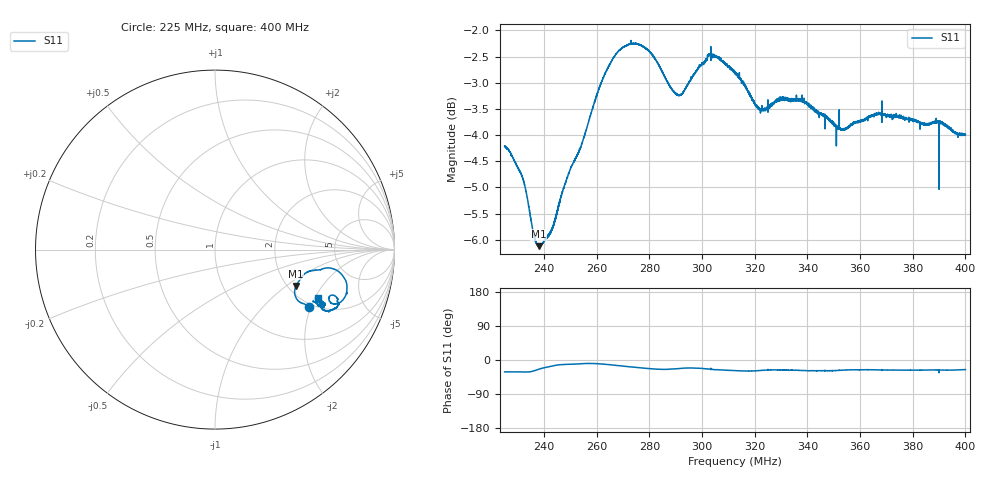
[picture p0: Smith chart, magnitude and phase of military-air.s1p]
! Calibrated averaged scanner-service zoom
# Hz S RI R 50
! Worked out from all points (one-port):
!   10001 points, 225 MHz to 400 MHz, reference 50 ohm
!   lowest |S11| = -6.1 dB at 238 MHz (marker M1), VSWR 2.95, Z = 110 - j59.2 ohm
!   |S11| at or under -10 dB: nowhere
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2.25e8  0.526 -0.3205
2.33155e8  0.4737 -0.2938
2.357625e8  0.445 -0.2511
2.380375e8  0.4506 -0.2031
2.43795e8  0.5023 -0.1324
2.46875e8  0.5437 -0.1168
2.580925e8  0.6569 -0.1064
2.63185e8  0.7084 -0.1421
2.6875e8  0.7346 -0.1984
2.747e8  0.7279 -0.2558
2.8163e8  0.6872 -0.3001
2.85585e8  0.6531 -0.3009
2.90625e8  0.6346 -0.2695
2.957175e8  0.6653 -0.2559
3.028575e8  0.6878 -0.3053
3.0473e8  0.6785 -0.3226
3.125e8  0.6386 -0.3401
3.168925e8  0.611 -0.3377
3.2076e8  0.5915 -0.3182
3.258e8  0.6032 -0.2964
3.34375e8  0.6074 -0.3087
3.4029e8  0.5953 -0.3186
3.5086e8  0.5698 -0.301
3.5625e8  0.5782 -0.2819
3.65595e8  0.5939 -0.2887
3.78125e8  0.5829 -0.2946
3.927725e8  0.5744 -0.2915
4e8  0.5714 -0.2699
